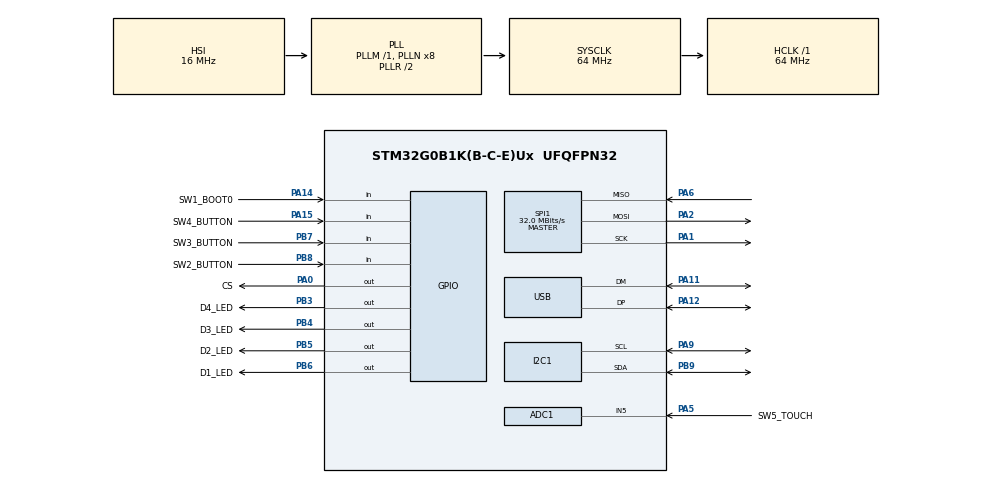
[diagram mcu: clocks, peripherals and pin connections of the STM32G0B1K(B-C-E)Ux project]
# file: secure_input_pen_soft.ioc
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ADC1.Channel-0\#ChannelRegularConversion=ADC_CHANNEL_5
ADC1.NbrOfConversionFlag=1
ADC1.Rank-0\#ChannelRegularConversion=1
ADC1.SamplingTime-0\#ChannelRegularConversion=ADC_SAMPLINGTIME_COMMON_1
ADC1.SelectedChannel=ADC_CHANNEL_5
ADC1.master=1
I2C1.Timing=0x10B17DB5
Mcu.Family=STM32G0
Mcu.Name=STM32G0B1K(B-C-E)Ux
Mcu.Package=UFQFPN32
PA0.GPIO_Label=CS
PA0.Signal=GPIO_Output
PA1.Mode=Full_Duplex_Master
PA1.Signal=SPI1_SCK
PA11\ [PA9].Mode=Device
PA11\ [PA9].Signal=USB_DM
PA12\ [PA10].Mode=Device
PA12\ [PA10].Signal=USB_DP
PA13.Signal=SYS_SWDIO
PA14-BOOT0.GPIO_Label=SW1_BOOT0
PA14-BOOT0.GPIO_PuPd=GPIO_PULLUP
PA14-BOOT0.Signal=GPIO_Input
PA15.GPIO_Label=SW4_BUTTON
PA15.GPIO_PuPd=GPIO_PULLUP
PA15.Signal=GPIO_Input
PA2.Mode=Full_Duplex_Master
PA2.Signal=SPI1_MOSI
PA5.GPIO_Label=SW5_TOUCH
PA5.Mode=IN5
PA5.Signal=ADC1_IN5
PA6.Mode=Full_Duplex_Master
PA6.Signal=SPI1_MISO
PA9.Mode=I2C
PA9.Signal=I2C1_SCL
PB3.GPIO_Label=D4_LED
PB3.PinState=GPIO_PIN_SET
PB3.Signal=GPIO_Output
PB4.GPIO_Label=D3_LED
PB4.PinState=GPIO_PIN_SET
PB4.Signal=GPIO_Output
PB5.GPIO_Label=D2_LED
PB5.PinState=GPIO_PIN_SET
PB5.Signal=GPIO_Output
PB6.GPIO_FM6=__NULL
PB6.GPIO_Label=D1_LED
PB6.PinState=GPIO_PIN_SET
PB6.Signal=GPIO_Output
PB7.GPIO_Label=SW3_BUTTON
PB7.GPIO_PuPd=GPIO_PULLUP
PB7.Signal=GPIO_Input
PB8.GPIO_Label=SW2_BUTTON
PB8.GPIO_PuPd=GPIO_PULLUP
PB8.Signal=GPIO_Input
PB9.Mode=I2C
PB9.Signal=I2C1_SDA
ProjectManager.HeapSize=0x200
ProjectManager.StackSize=0x400
ProjectManager.TargetToolchain=STM32CubeIDE
RCC.ADCFreq_Value=64000000
RCC.AHBFreq_Value=64000000
RCC.CortexFreq_Value=64000000
RCC.EXTERNAL_CLOCK_VALUE=48000
RCC.HCLKFreq_Value=64000000
RCC.HSE_VALUE=8000000
RCC.HSI48_VALUE=48000000
RCC.HSI_VALUE=16000000
RCC.LSE_VALUE=32768
RCC.SYSCLKFreq_VALUE=64000000
RCC.SYSCLKSource=RCC_SYSCLKSOURCE_PLLCLK
RCC.USBFreq_Value=48000000
RCC.VCOOutputFreq_Value=128000000
SPI1.CalculateBaudRate=32.0 MBits/s
SPI1.Direction=SPI_DIRECTION_2LINES
SPI1.Mode=SPI_MODE_MASTER
SPI1.VirtualType=VM_MASTER
VP_SYS_VS_DBSignals.Mode=DisableDeadBatterySignals
board=custom

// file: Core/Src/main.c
/* USER CODE BEGIN Header */
/**
  ******************************************************************************
  * @file           : main.c
  * @brief          : Main program body
  ******************************************************************************
  * @attention
  *
  * Copyright (c) 2024 STMicroelectronics.
  * All rights reserved.
  *
  * This software is licensed under terms that can be found in the LICENSE file
  * in the root directory of this software component.
  * If no LICENSE file comes with this software, it is provided AS-IS.
  *
  ******************************************************************************
  */
/* USER CODE END Header */
#include "main.h"
#include "adc.h"
#include "i2c.h"
#include "spi.h"
#include "usb_drd_fs.h"
#include "gpio.h"

/* USER CODE BEGIN Includes */
// OLED
#include "ssd1306.h"

/* USER CODE END Includes */

/* USER CODE BEGIN PD */
// OLED begin
#define SSD1306_USE_I2C
#define __DEBUG 1
#define BUFFERSIZE 100
#define I2CBUF	12
// OLED end

/* USER CODE END PD */

/* USER CODE BEGIN PV */
// OLED begin:
const uint8_t SSD1306_ADDRESS = 0x3C << 1;
const uint8_t RANDOM_REG = 0x0F;
char uartBuffer[BUFFERSIZE] = "";
uint8_t I2CBuffer[I2CBUF] = {0};
HAL_StatusTypeDef returnValue = 0;
// OLED end

/* USER CODE END PV */

void SystemClock_Config(void);

int main(void)
{

  /* MCU Configuration--------------------------------------------------------*/

  /* Reset of all peripherals, Initializes the Flash interface and the Systick. */
  HAL_Init();

  /* Configure the system clock */
  SystemClock_Config();

  /* Initialize all configured peripherals */
  MX_GPIO_Init();
  MX_I2C1_Init();
  MX_SPI1_Init();
  MX_USB_DRD_FS_PCD_Init();
  MX_ADC1_Init();
  /* USER CODE BEGIN 2 */
  // OLED begin
	ssd1306_Init();
	ssd1306_Fill(Black);
	ssd1306_SetCursor(0,26);
	ssd1306_WriteString("secure input pen started.", Font_7x10, White);
	ssd1306_UpdateScreen();
	// OLED end

  /* USER CODE END 2 */

  /* Infinite loop */
  while (1)
  {

  }
}

void SystemClock_Config(void)
{
  RCC_OscInitTypeDef RCC_OscInitStruct = {0};
  RCC_ClkInitTypeDef RCC_ClkInitStruct = {0};

  /** Configure the main internal regulator output voltage
  */
  HAL_PWREx_ControlVoltageScaling(PWR_REGULATOR_VOLTAGE_SCALE1);

  /** Initializes the RCC Oscillators according to the specified parameters
  * in the RCC_OscInitTypeDef structure.
  */
  RCC_OscInitStruct.OscillatorType = RCC_OSCILLATORTYPE_HSI|RCC_OSCILLATORTYPE_HSI48;
  RCC_OscInitStruct.HSIState = RCC_HSI_ON;
  RCC_OscInitStruct.HSI48State = RCC_HSI48_ON;
  RCC_OscInitStruct.HSIDiv = RCC_HSI_DIV1;
  RCC_OscInitStruct.HSICalibrationValue = RCC_HSICALIBRATION_DEFAULT;
  RCC_OscInitStruct.PLL.PLLState = RCC_PLL_ON;
  RCC_OscInitStruct.PLL.PLLSource = RCC_PLLSOURCE_HSI;
  RCC_OscInitStruct.PLL.PLLM = RCC_PLLM_DIV1;
  RCC_OscInitStruct.PLL.PLLN = 8;
  RCC_OscInitStruct.PLL.PLLP = RCC_PLLP_DIV2;
  RCC_OscInitStruct.PLL.PLLQ = RCC_PLLQ_DIV2;
  RCC_OscInitStruct.PLL.PLLR = RCC_PLLR_DIV2;
  if (HAL_RCC_OscConfig(&RCC_OscInitStruct) != HAL_OK)
  {
    Error_Handler();
  }

  /** Initializes the CPU, AHB and APB buses clocks
  */
  RCC_ClkInitStruct.ClockType = RCC_CLOCKTYPE_HCLK|RCC_CLOCKTYPE_SYSCLK
                              |RCC_CLOCKTYPE_PCLK1;
  RCC_ClkInitStruct.SYSCLKSource = RCC_SYSCLKSOURCE_PLLCLK;
  RCC_ClkInitStruct.AHBCLKDivider = RCC_SYSCLK_DIV1;
  RCC_ClkInitStruct.APB1CLKDivider = RCC_HCLK_DIV1;

  if (HAL_RCC_ClockConfig(&RCC_ClkInitStruct, FLASH_LATENCY_2) != HAL_OK)
  {
    Error_Handler();
  }
}

void Error_Handler(void)
{
  __disable_irq();
  while (1)
  {
  }
}
